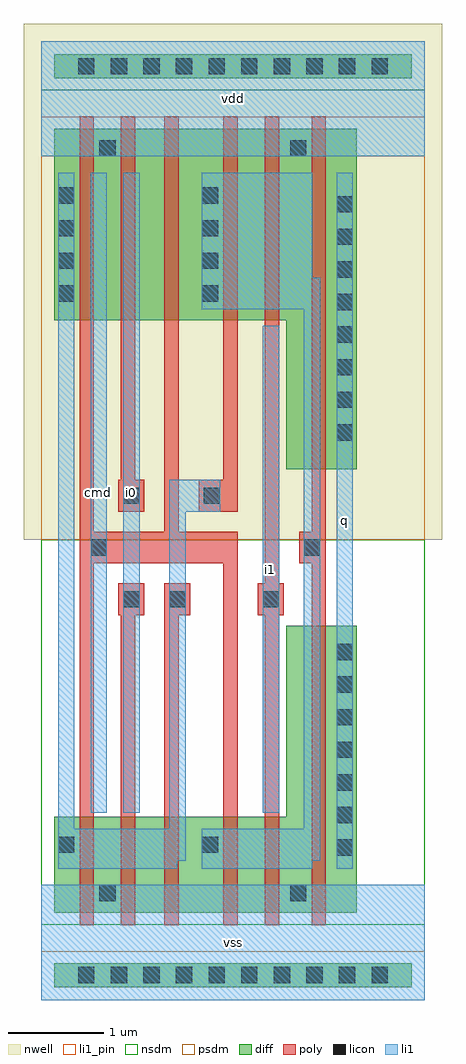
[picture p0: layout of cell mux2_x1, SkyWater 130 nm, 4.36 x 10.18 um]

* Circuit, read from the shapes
.subckt mux2_x1 cmd i0 i1 q vdd vss
XM1 vss cmd n1 VSUBS sky130_fd_pr__nfet_01v8 w=1 l=0.15
XM2 n2 i0 vss VSUBS sky130_fd_pr__nfet_01v8 w=1 l=0.15
XM3 n3 n1 n2 VSUBS sky130_fd_pr__nfet_01v8 w=1 l=0.15
XM4 n4 cmd n3 VSUBS sky130_fd_pr__nfet_01v8 w=1 l=0.15
XM5 vss i1 n4 VSUBS sky130_fd_pr__nfet_01v8 w=1 l=0.15
XM6 q n3 vss VSUBS sky130_fd_pr__nfet_01v8 w=2.995 l=0.15
XM7 vdd cmd n1 n5 sky130_fd_pr__pfet_01v8 w=2 l=0.15
XM8 n6 i0 vdd n5 sky130_fd_pr__pfet_01v8 w=2 l=0.15
XM9 n3 cmd n6 n5 sky130_fd_pr__pfet_01v8 w=2 l=0.15
XM10 n7 n1 n3 n5 sky130_fd_pr__pfet_01v8 w=2 l=0.15
XM11 vdd i1 n7 n5 sky130_fd_pr__pfet_01v8 w=2 l=0.15
XM12 q n3 vdd n5 sky130_fd_pr__pfet_01v8 w=3.555 l=0.15
.ends

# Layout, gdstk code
import gdstk
lib = gdstk.Library(unit=1e-6, precision=1e-09)
def R(c, l, rs):  # rectangles x0, y0, x1, y1
    for r in rs: c.add(gdstk.rectangle(r[:2], r[2:], *l))
def A(c, l, x, y, w, h, nx, ny, dx, dy):  # array of equal rectangles
    R(c, l, [(x+i*dx, y+j*dy, x+i*dx+w, y+j*dy+h) for i in range(nx) for j in range(ny)])
def P(c, l, *ps):  # polygons
    for p in ps: c.add(gdstk.Polygon(p, *l))
nwell = (64, 20)
diff = (65, 20)
poly = (66, 20)
licon = (66, 44)
li1_pin = (67, 16)
li1 = (67, 20)
nsdm = (93, 44)
psdm = (94, 20)

mux2_x1 = lib.new_cell('mux2_x1')
R(mux2_x1, nwell, [(-0.18,4.8,4.18,10.18)])
R(mux2_x1, diff, [(0.135,0.135,3.865,0.385), (0.135,9.615,3.865,9.865)])
P(mux2_x1, diff, [(2.555,5.535),(2.555,7.09),(0.135,7.09),(0.135,9.09),(3.29,9.09),(3.29,5.535)],
  [(0.135,0.91),(0.135,1.91),(2.555,1.91),(2.555,3.905),(3.29,3.905),(3.29,0.91)])
P(mux2_x1, poly, [(1.285,0.78),(1.285,4.345),(1.555,4.345),(1.555,4.015),(1.435,4.015),(1.435,0.78)],
  [(1.645,5.095),(1.645,5.425),(1.9,5.425),(1.9,9.22),(2.05,9.22),(2.05,5.095)],
  [(0.4,0.78),(0.4,9.22),(0.55,9.22),(0.55,4.885),(1.285,4.885),(1.285,9.22),(1.435,9.22),(1.435,4.885),(2.05,4.885),(2.05,0.78),(1.9,0.78),(1.9,4.555),(0.55,4.555),(0.55,0.78)],
  [(0.805,5.095),(0.805,5.425),(0.83,5.425),(0.83,9.22),(0.98,9.22),(0.98,5.425),(1.075,5.425),(1.075,5.095)],
  [(0.83,0.78),(0.83,4.015),(0.805,4.015),(0.805,4.345),(1.075,4.345),(1.075,4.015),(0.98,4.015),(0.98,0.78)],
  [(2.82,0.78),(2.82,4.555),(2.69,4.555),(2.69,4.885),(2.82,4.885),(2.82,9.22),(2.97,9.22),(2.97,0.78)],
  [(2.33,0.78),(2.33,4.015),(2.26,4.015),(2.26,4.345),(2.33,4.345),(2.33,9.22),(2.48,9.22),(2.48,4.345),(2.53,4.345),(2.53,4.015),(2.48,4.015),(2.48,0.78)])
A(mux2_x1, licon, 0.385, 0.175, 0.17, 0.17, 10, 2, 0.34, 9.48)
A(mux2_x1, licon, 3.08, 1.505, 0.17, 0.17, 1, 7, 0, 0.34)
A(mux2_x1, licon, 3.08, 5.835, 0.17, 0.17, 1, 8, 0, 0.34)
A(mux2_x1, licon, 0.175, 7.285, 0.17, 0.17, 1, 4, 0, 0.34)
A(mux2_x1, licon, 1.675, 7.285, 0.17, 0.17, 1, 4, 0, 0.34)
R(mux2_x1, licon, [(0.605,1.03,0.775,1.2), (2.595,1.03,2.765,1.2), (0.175,1.535,0.345,1.705), (1.675,1.535,1.845,1.705), (0.855,4.095,1.025,4.265), (1.335,4.095,1.505,4.265), (2.31,4.095,2.48,4.265), (0.515,4.635,0.685,4.805), (2.74,4.635,2.91,4.805), (0.855,5.175,1.025,5.345), (1.695,5.175,1.865,5.345), (0.605,8.8,0.775,8.97), (2.595,8.8,2.765,8.97)])
R(mux2_x1, li1_pin, [(0,0,4,1.2), (3.08,1.37,3.25,8.63), (0.515,1.955,0.685,8.63), (0.855,1.955,1.025,8.63), (2.31,1.955,2.48,7.035), (0,8.8,4,10)])
R(mux2_x1, li1, [(0,0,4,1.2), (3.08,1.37,3.25,8.63), (0.515,1.955,0.685,8.63), (0.855,1.955,1.025,8.63), (2.31,1.955,2.48,7.035), (0,8.8,4,10)])
P(mux2_x1, li1, [(0.175,1.37),(0.175,8.63),(0.345,8.63),(0.345,1.785),(1.335,1.785),(1.335,5.425),(1.865,5.425),(1.865,5.095),(1.505,5.095),(1.505,1.455),(1.42,1.455),(1.42,1.37)],
  [(1.675,1.37),(1.675,1.785),(2.74,1.785),(2.74,7.205),(1.675,7.205),(1.675,8.63),(2.825,8.63),(2.825,7.535),(2.91,7.535),(2.91,1.455),(2.825,1.455),(2.825,1.37)])
R(mux2_x1, nsdm, [(0,0.785,4,4.8), (0,9.49,4,10)])
R(mux2_x1, psdm, [(0,0,4,0.51), (0,4.8,4,9.215)])
mux2_x1.add(gdstk.Label('vdd', (2,9.4), layer=67, texttype=16))
mux2_x1.add(gdstk.Label('vss', (2,0.6), layer=67, texttype=16))
mux2_x1.add(gdstk.Label('cmd', (0.6,5.293), layer=67, texttype=16))
mux2_x1.add(gdstk.Label('i0', (0.94,5.293), layer=67, texttype=16))
mux2_x1.add(gdstk.Label('i1', (2.395,4.495), layer=67, texttype=16))
mux2_x1.add(gdstk.Label('q', (3.165,5), layer=67, texttype=16))

lib.write_gds('mux2_x1.gds')
